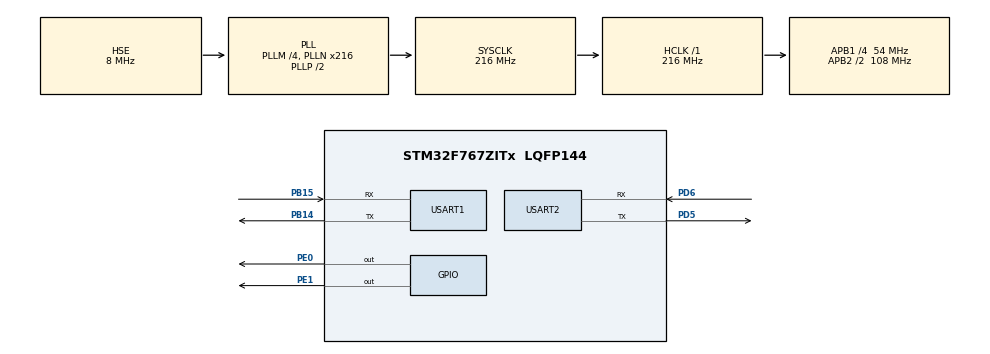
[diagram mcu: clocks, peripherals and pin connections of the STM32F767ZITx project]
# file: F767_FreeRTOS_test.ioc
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CORTEX_M7.ART_ACCLERATOR_ENABLE=1
CORTEX_M7.CPU_DCache=Enabled
CORTEX_M7.CPU_ICache=Enabled
CORTEX_M7.FlashInterface=AXI_Enabled
FREERTOS.Tasks01=defaultTask,0,128,StartDefaultTask,Default,NULL,Dynamic,NULL,NULL;Usonic,-2,128,StartTask02,Default,NULL,Dynamic,NULL,NULL
Mcu.Family=STM32F7
Mcu.Name=STM32F767ZITx
Mcu.Package=LQFP144
NVIC.PriorityGroup=NVIC_PRIORITYGROUP_4
NVIC.TIM7_IRQn=true\:0\:0\:false\:false\:true\:false\:false
NVIC.TimeBase=TIM7_IRQn
NVIC.TimeBaseIP=TIM7
PA13.Mode=Serial_Wire
PA13.Signal=SYS_JTMS-SWDIO
PA14.Mode=Serial_Wire
PA14.Signal=SYS_JTCK-SWCLK
PB14.Mode=Asynchronous
PB14.Signal=USART1_TX
PB15.Mode=Asynchronous
PB15.Signal=USART1_RX
PD5.Mode=Asynchronous
PD5.Signal=USART2_TX
PD6.Mode=Asynchronous
PD6.Signal=USART2_RX
PE0.Signal=GPIO_Output
PE1.Signal=GPIO_Output
PH0/OSC_IN.Mode=HSE-External-Oscillator
PH0/OSC_IN.Signal=RCC_OSC_IN
PH1/OSC_OUT.Mode=HSE-External-Oscillator
PH1/OSC_OUT.Signal=RCC_OSC_OUT
ProjectManager.HeapSize=0x400
ProjectManager.StackSize=0x800
ProjectManager.TargetToolchain=TrueSTUDIO
RCC.AHBFreq_Value=216000000
RCC.APB1CLKDivider=RCC_HCLK_DIV4
RCC.APB1Freq_Value=54000000
RCC.APB1TimFreq_Value=108000000
RCC.APB2CLKDivider=RCC_HCLK_DIV2
RCC.APB2Freq_Value=108000000
RCC.APB2TimFreq_Value=216000000
RCC.CortexFreq_Value=216000000
RCC.HCLKFreq_Value=216000000
RCC.HSE_VALUE=8000000
RCC.HSI_VALUE=16000000
RCC.LSE_VALUE=32768
RCC.PLLM=4
RCC.PLLN=216
RCC.PLLSourceVirtual=RCC_PLLSOURCE_HSE
RCC.SYSCLKFreq_VALUE=216000000
RCC.SYSCLKSource=RCC_SYSCLKSOURCE_PLLCLK
RCC.USBFreq_Value=216000000
RCC.VCOOutputFreq_Value=432000000
USART1.VirtualMode-Asynchronous=VM_ASYNC
USART1.WordLength=WORDLENGTH_8B
USART2.VirtualMode-Asynchronous=VM_ASYNC
USART2.WordLength=WORDLENGTH_8B
VP_FREERTOS_VS_ENABLE.Mode=Enabled
VP_SYS_VS_tim7.Mode=TIM7
board=F767_FreeRTOS_test

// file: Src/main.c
/**
  ******************************************************************************
  * @file           : main.c
  * @brief          : Main program body
  ******************************************************************************
  * This notice applies to any and all portions of this file
  * that are not between comment pairs USER CODE BEGIN and
  * USER CODE END. Other portions of this file, whether
  * inserted by the user or by software development tools
  * are owned by their respective copyright owners.
  *
  * Copyright (c) 2018 STMicroelectronics International N.V.
  * All rights reserved.
  *
  * Redistribution and use in source and binary forms, with or without
  * modification, are permitted, provided that the following conditions are met:
  *
  * 1. Redistribution of source code must retain the above copyright notice,
  *    this list of conditions and the following disclaimer.
  * 2. Redistributions in binary form must reproduce the above copyright notice,
  *    this list of conditions and the following disclaimer in the documentation
  *    and/or other materials provided with the distribution.
  * 3. Neither the name of STMicroelectronics nor the names of other
  *    contributors to this software may be used to endorse or promote products
  *    derived from this software without specific written permission.
  * 4. This software, including modifications and/or derivative works of this
  *    software, must execute solely and exclusively on microcontroller or
  *    microprocessor devices manufactured by or for STMicroelectronics.
  * 5. Redistribution and use of this software other than as permitted under
  *    this license is void and will automatically terminate your rights under
  *    this license.
  *
  * THIS SOFTWARE IS PROVIDED BY STMICROELECTRONICS AND CONTRIBUTORS "AS IS"
  * AND ANY EXPRESS, IMPLIED OR STATUTORY WARRANTIES, INCLUDING, BUT NOT
  * LIMITED TO, THE IMPLIED WARRANTIES OF MERCHANTABILITY, FITNESS FOR A
  * PARTICULAR PURPOSE AND NON-INFRINGEMENT OF THIRD PARTY INTELLECTUAL PROPERTY
  * RIGHTS ARE DISCLAIMED TO THE FULLEST EXTENT PERMITTED BY LAW. IN NO EVENT
  * SHALL STMICROELECTRONICS OR CONTRIBUTORS BE LIABLE FOR ANY DIRECT, INDIRECT,
  * INCIDENTAL, SPECIAL, EXEMPLARY, OR CONSEQUENTIAL DAMAGES (INCLUDING, BUT NOT
  * LIMITED TO, PROCUREMENT OF SUBSTITUTE GOODS OR SERVICES; LOSS OF USE, DATA,
  * OR PROFITS; OR BUSINESS INTERRUPTION) HOWEVER CAUSED AND ON ANY THEORY OF
  * LIABILITY, WHETHER IN CONTRACT, STRICT LIABILITY, OR TORT (INCLUDING
  * NEGLIGENCE OR OTHERWISE) ARISING IN ANY WAY OUT OF THE USE OF THIS SOFTWARE,
  * EVEN IF ADVISED OF THE POSSIBILITY OF SUCH DAMAGE.
  *
  ******************************************************************************
  */
#include "main.h"
#include "stm32f7xx_hal.h"
#include "cmsis_os.h"
#include "usart.h"
#include "gpio.h"

/* USER CODE BEGIN Includes */
#include "xprintf.h"
/* USER CODE END Includes */

/* USER CODE BEGIN PV */
/* Private variables ---------------------------------------------------------*/

/* USER CODE END PV */

void SystemClock_Config(void);
void MX_FREERTOS_Init(void);

/* USER CODE BEGIN PFP */
/* Private function prototypes -----------------------------------------------*/

/* USER CODE END PFP */

int main(void)
{

  /* Enable I-Cache-------------------------------------------------------------*/
  SCB_EnableICache();

  /* Enable D-Cache-------------------------------------------------------------*/
  SCB_EnableDCache();

  /* MCU Configuration----------------------------------------------------------*/

  /* Reset of all peripherals, Initializes the Flash interface and the Systick. */
  HAL_Init();

  /* Configure the system clock */
  SystemClock_Config();

  /* Initialize all configured peripherals */
  MX_GPIO_Init();
  MX_USART1_UART_Init();
  MX_USART2_UART_Init();
  /* USER CODE BEGIN 2 */

  xprintf_init(&huart2);
  xdev_out(uart_putc);
  /* USER CODE END 2 */

  /* Call init function for freertos objects (in freertos.c) */
  MX_FREERTOS_Init();

  /* Start scheduler */
  osKernelStart();

  /* We should never get here as control is now taken by the scheduler */

  /* Infinite loop */
  while (1)
  {

  }

}

void SystemClock_Config(void)
{

  RCC_OscInitTypeDef RCC_OscInitStruct;
  RCC_ClkInitTypeDef RCC_ClkInitStruct;
  RCC_PeriphCLKInitTypeDef PeriphClkInitStruct;

    /**Configure the main internal regulator output voltage
    */
  __HAL_RCC_PWR_CLK_ENABLE();

  __HAL_PWR_VOLTAGESCALING_CONFIG(PWR_REGULATOR_VOLTAGE_SCALE1);

    /**Initializes the CPU, AHB and APB busses clocks
    */
  RCC_OscInitStruct.OscillatorType = RCC_OSCILLATORTYPE_HSE;
  RCC_OscInitStruct.HSEState = RCC_HSE_ON;
  RCC_OscInitStruct.PLL.PLLState = RCC_PLL_ON;
  RCC_OscInitStruct.PLL.PLLSource = RCC_PLLSOURCE_HSE;
  RCC_OscInitStruct.PLL.PLLM = 4;
  RCC_OscInitStruct.PLL.PLLN = 216;
  RCC_OscInitStruct.PLL.PLLP = RCC_PLLP_DIV2;
  RCC_OscInitStruct.PLL.PLLQ = 2;
  if (HAL_RCC_OscConfig(&RCC_OscInitStruct) != HAL_OK)
  {
    _Error_Handler(__FILE__, __LINE__);
  }

    /**Activate the Over-Drive mode
    */
  if (HAL_PWREx_EnableOverDrive() != HAL_OK)
  {
    _Error_Handler(__FILE__, __LINE__);
  }

    /**Initializes the CPU, AHB and APB busses clocks
    */
  RCC_ClkInitStruct.ClockType = RCC_CLOCKTYPE_HCLK|RCC_CLOCKTYPE_SYSCLK
                              |RCC_CLOCKTYPE_PCLK1|RCC_CLOCKTYPE_PCLK2;
  RCC_ClkInitStruct.SYSCLKSource = RCC_SYSCLKSOURCE_PLLCLK;
  RCC_ClkInitStruct.AHBCLKDivider = RCC_SYSCLK_DIV1;
  RCC_ClkInitStruct.APB1CLKDivider = RCC_HCLK_DIV4;
  RCC_ClkInitStruct.APB2CLKDivider = RCC_HCLK_DIV2;

  if (HAL_RCC_ClockConfig(&RCC_ClkInitStruct, FLASH_LATENCY_7) != HAL_OK)
  {
    _Error_Handler(__FILE__, __LINE__);
  }

  PeriphClkInitStruct.PeriphClockSelection = RCC_PERIPHCLK_USART1|RCC_PERIPHCLK_USART2;
  PeriphClkInitStruct.Usart1ClockSelection = RCC_USART1CLKSOURCE_PCLK2;
  PeriphClkInitStruct.Usart2ClockSelection = RCC_USART2CLKSOURCE_PCLK1;
  if (HAL_RCCEx_PeriphCLKConfig(&PeriphClkInitStruct) != HAL_OK)
  {
    _Error_Handler(__FILE__, __LINE__);
  }

    /**Configure the Systick interrupt time
    */
  HAL_SYSTICK_Config(HAL_RCC_GetHCLKFreq()/1000);

    /**Configure the Systick
    */
  HAL_SYSTICK_CLKSourceConfig(SYSTICK_CLKSOURCE_HCLK);

  /* SysTick_IRQn interrupt configuration */
  HAL_NVIC_SetPriority(SysTick_IRQn, 15, 0);
}

void HAL_TIM_PeriodElapsedCallback(TIM_HandleTypeDef *htim)
{
  if (htim->Instance == TIM7) {
    HAL_IncTick();
  }
}

void _Error_Handler(char *file, int line)
{
  while(1)
  {
  }
}

/************************ (C) COPYRIGHT STMicroelectronics *****END OF FILE****/

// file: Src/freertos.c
/**
  ******************************************************************************
  * File Name          : freertos.c
  * Description        : Code for freertos applications
  ******************************************************************************
  * This notice applies to any and all portions of this file
  * that are not between comment pairs USER CODE BEGIN and
  * USER CODE END. Other portions of this file, whether
  * inserted by the user or by software development tools
  * are owned by their respective copyright owners.
  *
  * Copyright (c) 2018 STMicroelectronics International N.V.
  * All rights reserved.
  *
  * Redistribution and use in source and binary forms, with or without
  * modification, are permitted, provided that the following conditions are met:
  *
  * 1. Redistribution of source code must retain the above copyright notice,
  *    this list of conditions and the following disclaimer.
  * 2. Redistributions in binary form must reproduce the above copyright notice,
  *    this list of conditions and the following disclaimer in the documentation
  *    and/or other materials provided with the distribution.
  * 3. Neither the name of STMicroelectronics nor the names of other
  *    contributors to this software may be used to endorse or promote products
  *    derived from this software without specific written permission.
  * 4. This software, including modifications and/or derivative works of this
  *    software, must execute solely and exclusively on microcontroller or
  *    microprocessor devices manufactured by or for STMicroelectronics.
  * 5. Redistribution and use of this software other than as permitted under
  *    this license is void and will automatically terminate your rights under
  *    this license.
  *
  * THIS SOFTWARE IS PROVIDED BY STMICROELECTRONICS AND CONTRIBUTORS "AS IS"
  * AND ANY EXPRESS, IMPLIED OR STATUTORY WARRANTIES, INCLUDING, BUT NOT
  * LIMITED TO, THE IMPLIED WARRANTIES OF MERCHANTABILITY, FITNESS FOR A
  * PARTICULAR PURPOSE AND NON-INFRINGEMENT OF THIRD PARTY INTELLECTUAL PROPERTY
  * RIGHTS ARE DISCLAIMED TO THE FULLEST EXTENT PERMITTED BY LAW. IN NO EVENT
  * SHALL STMICROELECTRONICS OR CONTRIBUTORS BE LIABLE FOR ANY DIRECT, INDIRECT,
  * INCIDENTAL, SPECIAL, EXEMPLARY, OR CONSEQUENTIAL DAMAGES (INCLUDING, BUT NOT
  * LIMITED TO, PROCUREMENT OF SUBSTITUTE GOODS OR SERVICES; LOSS OF USE, DATA,
  * OR PROFITS; OR BUSINESS INTERRUPTION) HOWEVER CAUSED AND ON ANY THEORY OF
  * LIABILITY, WHETHER IN CONTRACT, STRICT LIABILITY, OR TORT (INCLUDING
  * NEGLIGENCE OR OTHERWISE) ARISING IN ANY WAY OUT OF THE USE OF THIS SOFTWARE,
  * EVEN IF ADVISED OF THE POSSIBILITY OF SUCH DAMAGE.
  *
  ******************************************************************************
  */

#include "FreeRTOS.h"
#include "task.h"
#include "cmsis_os.h"

/* USER CODE BEGIN Includes */
#include "stm32f7xx.h"
#include "xprintf.h"
#include "microsectimer.h"
/* USER CODE END Includes */

osThreadId defaultTaskHandle;
osThreadId UsonicHandle;

/* USER CODE BEGIN Variables */
int count;
uint8_t flug;
/* USER CODE END Variables */

void StartDefaultTask(void const * argument);
void StartTask02(void const * argument);

void MX_FREERTOS_Init(void); /* (MISRA C 2004 rule 8.1) */

/* Hook prototypes */

/* Init FreeRTOS */

void MX_FREERTOS_Init(void) {

  /* Create the thread(s) */
  /* definition and creation of defaultTask */
  osThreadDef(defaultTask, StartDefaultTask, osPriorityNormal, 0, 128);
  defaultTaskHandle = osThreadCreate(osThread(defaultTask), NULL);

  /* definition and creation of Usonic */
  osThreadDef(Usonic, StartTask02, osPriorityLow, 0, 128);
  UsonicHandle = osThreadCreate(osThread(Usonic), NULL);

}

/* StartDefaultTask function */
void StartDefaultTask(void const * argument)
{

  /* USER CODE BEGIN StartDefaultTask */
  /* Infinite loop */
  for(;;)
  {
	  osSignalWait(flug,1000);
	  xprintf("count=%d\r\n",count);
	  HAL_GPIO_TogglePin(GPIOE,GPIO_PIN_0);
	  flug=0;

  }
  /* USER CODE END StartDefaultTask */
}

/* StartTask02 function */
void StartTask02(void const * argument)
{
  /* USER CODE BEGIN StartTask02 */
  /* Infinite loop */
  for(;;)
  {
	  count++;
	  if(count>100){
		  flug=1;
		  count=0;
	  }
	  HAL_GPIO_TogglePin(GPIOE,GPIO_PIN_1);
  }
  /* USER CODE END StartTask02 */
}

/************************ (C) COPYRIGHT STMicroelectronics *****END OF FILE****/
